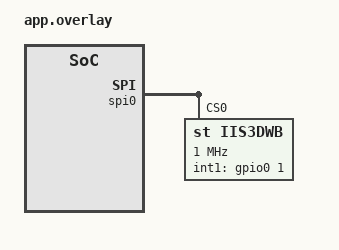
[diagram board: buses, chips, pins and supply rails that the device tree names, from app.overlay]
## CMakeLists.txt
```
# Copyright The Zephyr Project Contributors
# SPDX-License-Identifier: Apache-2.0

cmake_minimum_required(VERSION 3.28.0)
find_package(Zephyr REQUIRED HINTS $ENV{ZEPHYR_BASE})
project(iis3dwb)

target_include_directories(app PRIVATE
  ${ZEPHYR_BASE}/drivers/sensor/st/iis3dwb
  ${ZEPHYR_BASE}/drivers/sensor/st/stmemsc
)
target_sources(app PRIVATE src/main.c)
```

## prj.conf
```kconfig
# Copyright The Zephyr Project Contributors
# SPDX-License-Identifier: Apache-2.0

CONFIG_ZTEST=y
CONFIG_SENSOR=y
CONFIG_SENSOR_ASYNC_API=y
CONFIG_EMUL=y
CONFIG_GPIO=y
# No emulator backs the device, only its decoder is tested
```

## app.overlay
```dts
/*
 * Copyright The Zephyr Project Contributors
 *
 * SPDX-License-Identifier: Apache-2.0
 */

#include <zephyr/dt-bindings/gpio/gpio.h>
#include <zephyr/dt-bindings/sensor/iis3dwb.h>

&spi0 {
	iis3dwb: iis3dwb@0 {
		compatible = "st,iis3dwb";
		reg = <0>;
		spi-max-frequency = <1000000>;
		int1-gpios = <&gpio0 1 GPIO_ACTIVE_HIGH>;
		odr = <IIS3DWB_DT_ODR_26k7Hz>;
		accel-fifo-batch-rate = <IIS3DWB_DT_XL_BATCHED_AT_26k7Hz>;
		temp-fifo-batch-rate = <IIS3DWB_DT_TEMP_BATCHED_AT_104Hz>;
	};
};
```

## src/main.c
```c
/*
 * Copyright The Zephyr Project Contributors
 *
 * SPDX-License-Identifier: Apache-2.0
 */

#include <zephyr/drivers/sensor.h>
#include <zephyr/sys/byteorder.h>
#include <zephyr/ztest.h>

#include "iis3dwb.h"

/* Allowed error of a decoded acceleration, in micro-m/s^2 */
#define TOLERANCE_UMS2 500
/* Allowed error of a decoded temperature, in micro-degC */
#define TOLERANCE_UC   10

#define FIFO_TAG_SHIFT 3U

#define TS_NS 1000000000ULL

#define ACCEL_PERIOD_NS 37453ULL   /* 26.7 kHz */
#define TEMP_PERIOD_NS  9615384ULL /* 104 Hz */

static const struct sensor_decoder_api *decoder = SENSOR_DECODER_DT_GET(DT_NODELABEL(iis3dwb));

static const struct sensor_chan_spec chan_xyz = {SENSOR_CHAN_ACCEL_XYZ, 0};
static const struct sensor_chan_spec chan_x = {SENSOR_CHAN_ACCEL_X, 0};
static const struct sensor_chan_spec chan_y = {SENSOR_CHAN_ACCEL_Y, 0};
static const struct sensor_chan_spec chan_z = {SENSOR_CHAN_ACCEL_Z, 0};
static const struct sensor_chan_spec chan_temp = {SENSOR_CHAN_DIE_TEMP, 0};

/* Sensitivity in ug/LSB and expected shift for each range */
static const struct {
	uint8_t range;
	int32_t ug_per_lsb;
	int8_t shift;
} ranges[] = {
	{IIS3DWB_DT_FS_2G, 61, 5},
	{IIS3DWB_DT_FS_4G, 122, 6},
	{IIS3DWB_DT_FS_8G, 244, 7},
	{IIS3DWB_DT_FS_16G, 488, 8},
};

static int64_t q31_to_micro(q31_t value, int8_t shift)
{
	return ((int64_t)value * 1000000) >> (31 - shift);
}

static void check_accel(q31_t value, int8_t shift, int16_t raw, int32_t ug_per_lsb)
{
	int64_t expected = (int64_t)raw * ug_per_lsb * SENSOR_G / 1000000;
	int64_t actual = q31_to_micro(value, shift);

	zassert_within(actual, expected, TOLERANCE_UMS2, "raw %d: got %lld, expected %lld", raw,
		       actual, expected);
}

static void check_temp(q31_t value, int8_t shift, int16_t raw)
{
	int64_t expected = 25000000 + (int64_t)raw * 1000000 / 256;
	int64_t actual = q31_to_micro(value, shift);

	zassert_equal(shift, 9);
	zassert_within(actual, expected, TOLERANCE_UC, "raw %d: got %lld, expected %lld", raw,
		       actual, expected);
}

static void check_unsupported(const uint8_t *buffer, struct sensor_chan_spec chan)
{
	struct sensor_three_axis_data out;
	size_t base_size;
	size_t frame_size;
	uint16_t frame_count;
	uint32_t fit = 0;

	zassert_equal(decoder->get_size_info(chan, &base_size, &frame_size), -ENOTSUP);
	zassert_equal(decoder->get_frame_count(buffer, chan, &frame_count), -ENOTSUP);
	zassert_equal(decoder->decode(buffer, chan, &fit, 1, &out), -ENOTSUP);
}

static void check_size_info(struct sensor_chan_spec chan, size_t base, size_t frame)
{
	size_t base_size;
	size_t frame_size;

	zassert_ok(decoder->get_size_info(chan, &base_size, &frame_size));
	zassert_equal(base_size, base);
	zassert_equal(frame_size, frame);
}

static struct iis3dwb_rtio_data sample;

static void fill_sample(uint8_t range, const int16_t *accel, const int16_t *temp)
{
	memset(&sample, 0, sizeof(sample));
	sample.header.timestamp = TS_NS;
	sample.header.range = range;

	if (accel != NULL) {
		sample.has_accel = 1;
		for (int i = 0; i < 3; i++) {
			sys_put_le16((uint16_t)accel[i], (uint8_t *)&sample.accel[i]);
		}
	}

	if (temp != NULL) {
		sample.has_temp = 1;
		sys_put_le16((uint16_t)*temp, (uint8_t *)&sample.temp);
	}
}

ZTEST(iis3dwb_decoder, test_size_info)
{
	check_size_info(chan_xyz, sizeof(struct sensor_three_axis_data),
			sizeof(struct sensor_three_axis_sample_data));
	check_size_info(chan_x, sizeof(struct sensor_q31_data),
			sizeof(struct sensor_q31_sample_data));
	check_size_info(chan_y, sizeof(struct sensor_q31_data),
			sizeof(struct sensor_q31_sample_data));
	check_size_info(chan_z, sizeof(struct sensor_q31_data),
			sizeof(struct sensor_q31_sample_data));

	if (IS_ENABLED(CONFIG_IIS3DWB_ENABLE_TEMP)) {
		check_size_info(chan_temp, sizeof(struct sensor_q31_data),
				sizeof(struct sensor_q31_sample_data));
	}
}

ZTEST(iis3dwb_decoder, test_single_accel)
{
	static const int16_t raw[3] = {16384, -32768, 32767};
	const uint8_t *buffer = (const uint8_t *)&sample;

	for (size_t r = 0; r < ARRAY_SIZE(ranges); r++) {
		struct sensor_three_axis_data out;
		struct sensor_q31_data out_1;
		uint16_t frame_count;
		uint32_t fit = 0;

		fill_sample(ranges[r].range, raw, NULL);

		zassert_ok(decoder->get_frame_count(buffer, chan_xyz, &frame_count));
		zassert_equal(frame_count, 1);

		zassert_equal(decoder->decode(buffer, chan_xyz, &fit, 1, &out), 1);
		zassert_equal(out.header.reading_count, 1);
		zassert_equal(out.header.base_timestamp_ns, TS_NS);
		zassert_equal(out.readings[0].timestamp_delta, 0);
		zassert_equal(out.shift, ranges[r].shift);
		check_accel(out.readings[0].x, out.shift, raw[0], ranges[r].ug_per_lsb);
		check_accel(out.readings[0].y, out.shift, raw[1], ranges[r].ug_per_lsb);
		check_accel(out.readings[0].z, out.shift, raw[2], ranges[r].ug_per_lsb);
		zassert_equal(decoder->decode(buffer, chan_xyz, &fit, 1, &out), 0);

		for (int axis = 0; axis < 3; axis++) {
			struct sensor_chan_spec chan = {SENSOR_CHAN_ACCEL_X + axis, 0};

			zassert_ok(decoder->get_frame_count(buffer, chan, &frame_count));
			zassert_equal(frame_count, 1);

			fit = 0;
			zassert_equal(decoder->decode(buffer, chan, &fit, 1, &out_1), 1);
			zassert_equal(out_1.header.reading_count, 1);
			zassert_equal(out_1.header.base_timestamp_ns, TS_NS);
			zassert_equal(out_1.readings[0].timestamp_delta, 0);
			zassert_equal(out_1.shift, ranges[r].shift);
			check_accel(out_1.readings[0].value, out_1.shift, raw[axis],
				    ranges[r].ug_per_lsb);
			zassert_equal(decoder->decode(buffer, chan, &fit, 1, &out_1), 0);
		}
	}

	check_unsupported(buffer, (struct sensor_chan_spec){SENSOR_CHAN_GYRO_XYZ, 0});
	check_unsupported(buffer, (struct sensor_chan_spec){SENSOR_CHAN_ACCEL_XYZ, 1});
	if (!IS_ENABLED(CONFIG_IIS3DWB_ENABLE_TEMP)) {
		check_unsupported(buffer, chan_temp);
	}
}

ZTEST(iis3dwb_decoder, test_single_no_data)
{
	static const int16_t raw[3] = {1, 2, 3};
	const uint8_t *buffer = (const uint8_t *)&sample;
	struct sensor_three_axis_data out;
	uint16_t frame_count;
	uint32_t fit = 0;

	/* Temperature read alone, or a buffer completed without data */
	fill_sample(IIS3DWB_DT_FS_2G, NULL, NULL);

	zassert_ok(decoder->get_frame_count(buffer, chan_xyz, &frame_count));
	zassert_equal(frame_count, 0);
	zassert_equal(decoder->decode(buffer, chan_xyz, &fit, 1, &out), -ENODATA);
	zassert_ok(decoder->get_frame_count(buffer, chan_z, &frame_count));
	zassert_equal(frame_count, 0);
	zassert_equal(decoder->decode(buffer, chan_z, &fit, 1, &out), -ENODATA);

	if (IS_ENABLED(CONFIG_IIS3DWB_ENABLE_TEMP)) {
		fill_sample(IIS3DWB_DT_FS_2G, raw, NULL);
		zassert_ok(decoder->get_frame_count(buffer, chan_temp, &frame_count));
		zassert_equal(frame_count, 0);
		zassert_equal(decoder->decode(buffer, chan_temp, &fit, 1, &out), -ENODATA);
	}
}

ZTEST(iis3dwb_decoder, test_single_temp)
{
	static const int16_t raw_accel[3] = {-61, 0, 61};
	static const int16_t raw_temps[] = {0, 2560, -1280, 32767, -32768};
	const uint8_t *buffer = (const uint8_t *)&sample;

	Z_TEST_SKIP_IFNDEF(CONFIG_IIS3DWB_ENABLE_TEMP);

	for (size_t i = 0; i < ARRAY_SIZE(raw_temps); i++) {
		struct sensor_q31_data out;
		struct sensor_three_axis_data out_xyz;
		uint16_t frame_count;
		uint32_t fit = 0;

		fill_sample(IIS3DWB_DT_FS_16G, raw_accel, &raw_temps[i]);

		zassert_ok(decoder->get_frame_count(buffer, chan_temp, &frame_count));
		zassert_equal(frame_count, 1);

		zassert_equal(decoder->decode(buffer, chan_temp, &fit, 1, &out), 1);
		zassert_equal(out.header.reading_count, 1);
		zassert_equal(out.header.base_timestamp_ns, TS_NS);
		zassert_equal(out.readings[0].timestamp_delta, 0);
		check_temp(out.readings[0].temperature, out.shift, raw_temps[i]);
		zassert_equal(decoder->decode(buffer, chan_temp, &fit, 1, &out), 0);

		/* Both sensors in one buffer */
		fit = 0;
		zassert_equal(decoder->decode(buffer, chan_xyz, &fit, 1, &out_xyz), 1);
		zassert_equal(out_xyz.shift, 8);
		check_accel(out_xyz.readings[0].x, out_xyz.shift, raw_accel[0], 488);
		check_accel(out_xyz.readings[0].z, out_xyz.shift, raw_accel[2], 488);
	}

	check_unsupported(buffer, (struct sensor_chan_spec){SENSOR_CHAN_DIE_TEMP, 1});
}

ZTEST(iis3dwb_decoder, test_single_trigger)
{
	static const int16_t raw[3] = {1, 2, 3};
	const uint8_t *buffer = (const uint8_t *)&sample;

	/* Stream data ready buffer: int_status holds STATUS_REG */
	fill_sample(IIS3DWB_DT_FS_2G, raw, NULL);
	sample.header.int_status = 0xFF;

	zassert_equal(decoder->has_trigger(buffer, SENSOR_TRIG_DATA_READY),
		      IS_ENABLED(CONFIG_IIS3DWB_STREAM));
	zassert_false(decoder->has_trigger(buffer, SENSOR_TRIG_FIFO_WATERMARK));
	zassert_false(decoder->has_trigger(buffer, SENSOR_TRIG_FIFO_FULL));

	sample.header.int_status = 0;
	zassert_false(decoder->has_trigger(buffer, SENSOR_TRIG_DATA_READY));
}

#define NUM_WORDS    8
#define NUM_XL_WORDS 4

static struct {
	struct iis3dwb_fifo_data hdr;
	uint8_t words[NUM_WORDS * IIS3DWB_FIFO_ITEM_LEN];
} __packed fifo;

static int16_t fifo_accel(int i, int axis)
{
	static const int16_t base[3] = {1000, -1000, 32767};

	return (axis == 2) ? base[axis] - i : base[axis] * (i + 1);
}

static const int16_t fifo_temps[] = {512, -256};

static void put_word(int idx, uint8_t tag, int16_t a, int16_t b, int16_t c)
{
	uint8_t *word = &fifo.words[idx * IIS3DWB_FIFO_ITEM_LEN];

	/* Tag counter and parity bits are set to check that they are ignored */
	word[0] = (uint8_t)(tag << FIFO_TAG_SHIFT) | 0x07U;
	sys_put_le16((uint16_t)a, &word[1]);
	sys_put_le16((uint16_t)b, &word[3]);
	sys_put_le16((uint16_t)c, &word[5]);
}

static void put_xl_word(int idx, int i)
{
	put_word(idx, IIS3DWB_XL_TAG, fifo_accel(i, 0), fifo_accel(i, 1), fifo_accel(i, 2));
}

static void fill_fifo(uint8_t int_status)
{
	memset(&fifo, 0, sizeof(fifo));
	fifo.hdr.header.is_fifo = 1;
	fifo.hdr.header.range = IIS3DWB_DT_FS_4G;
	fifo.hdr.header.int_status = int_status;
	fifo.hdr.header.timestamp = TS_NS;
	fifo.hdr.accel_odr = IIS3DWB_DT_ODR_26k7Hz;
	fifo.hdr.accel_batch_odr = IIS3DWB_DT_XL_BATCHED_AT_26k7Hz;
	fifo.hdr.temp_batch_odr = IIS3DWB_DT_TEMP_BATCHED_AT_104Hz;
	fifo.hdr.ts_batch_odr = IIS3DWB_DT_DEC_TS_1;
	fifo.hdr.fifo_count = NUM_WORDS;

	/* Accelerometer, temperature and timestamp words interleaved, and an unknown tag */
	put_xl_word(0, 0);
	put_xl_word(1, 1);
	put_word(2, IIS3DWB_TEMPERATURE_TAG, fifo_temps[0], 0, 0);
	put_word(3, IIS3DWB_TIMESTAMP_TAG, 0x1234, 0x5678, 0);
	put_xl_word(4, 2);
	put_word(5, 0x1E, 0x7FFF, 0x7FFF, 0x7FFF);
	put_word(6, IIS3DWB_TEMPERATURE_TAG, fifo_temps[1], 0, 0);
	put_xl_word(7, 3);
}

static uint64_t accel_ts(int i)
{
	return TS_NS - (NUM_XL_WORDS - 1 - i) * ACCEL_PERIOD_NS;
}

ZTEST(iis3dwb_decoder, test_fifo_accel)
{
	const uint8_t *buffer = (const uint8_t *)&fifo;
	struct {
		struct sensor_three_axis_data data;
		struct sensor_three_axis_sample_data extra[NUM_XL_WORDS - 1];
	} out;
	const struct sensor_three_axis_sample_data *readings = out.data.readings;
	uint16_t frame_count;
	uint32_t fit = 0;
	int i;

	Z_TEST_SKIP_IFNDEF(CONFIG_IIS3DWB_STREAM);

	fill_fifo(0x80);

	zassert_ok(decoder->get_frame_count(buffer, chan_xyz, &frame_count));
	zassert_equal(frame_count, NUM_XL_WORDS);

	/* All readings in one call */
	zassert_equal(decoder->decode(buffer, chan_xyz, &fit, NUM_XL_WORDS, &out), NUM_XL_WORDS);
	zassert_equal(out.data.header.reading_count, NUM_XL_WORDS);
	zassert_equal(out.data.header.base_timestamp_ns, accel_ts(0));
	zassert_equal(out.data.shift, 6);

	for (i = 0; i < NUM_XL_WORDS; i++) {
		zassert_equal(readings[i].timestamp_delta, i * ACCEL_PERIOD_NS);
		check_accel(readings[i].x, out.data.shift, fifo_accel(i, 0), 122);
		check_accel(readings[i].y, out.data.shift, fifo_accel(i, 1), 122);
		check_accel(readings[i].z, out.data.shift, fifo_accel(i, 2), 122);
	}

	zassert_equal(decoder->decode(buffer, chan_xyz, &fit, NUM_XL_WORDS, &out), 0);

	/* In two calls, resuming after the temperature and timestamp words */
	fit = 0;
	zassert_equal(decoder->decode(buffer, chan_xyz, &fit, 3, &out), 3);
	for (i = 0; i < 3; i++) {
		zassert_equal(out.data.header.base_timestamp_ns + readings[i].timestamp_delta,
			      accel_ts(i));
	}
	zassert_equal(decoder->decode(buffer, chan_xyz, &fit, 3, &out), 1);
	zassert_equal(out.data.header.reading_count, 1);
	zassert_equal(out.data.header.base_timestamp_ns + readings[0].timestamp_delta, accel_ts(3));
	check_accel(readings[0].x, out.data.shift, fifo_accel(3, 0), 122);
	zassert_equal(decoder->decode(buffer, chan_xyz, &fit, 3, &out), 0);
}

ZTEST(iis3dwb_decoder, test_fifo_accel_axis)
{
	const uint8_t *buffer = (const uint8_t *)&fifo;

	Z_TEST_SKIP_IFNDEF(CONFIG_IIS3DWB_STREAM);

	fill_fifo(0x80);

	for (int axis = 0; axis < 3; axis++) {
		struct sensor_chan_spec chan = {SENSOR_CHAN_ACCEL_X + axis, 0};
		struct sensor_q31_data out;
		uint16_t frame_count;
		uint32_t fit = 0;

		zassert_ok(decoder->get_frame_count(buffer, chan, &frame_count));
		zassert_equal(frame_count, NUM_XL_WORDS);

		/* One reading per call */
		for (int i = 0; i < NUM_XL_WORDS; i++) {
			zassert_equal(decoder->decode(buffer, chan, &fit, 1, &out), 1);
			zassert_equal(out.header.reading_count, 1);
			zassert_equal(out.header.base_timestamp_ns +
					      out.readings[0].timestamp_delta,
				      accel_ts(i));
			zassert_equal(out.shift, 6);
			check_accel(out.readings[0].value, out.shift, fifo_accel(i, axis), 122);
		}
		zassert_equal(decoder->decode(buffer, chan, &fit, 1, &out), 0);
	}

	check_unsupported(buffer, (struct sensor_chan_spec){SENSOR_CHAN_GYRO_XYZ, 0});
	check_unsupported(buffer, (struct sensor_chan_spec){SENSOR_CHAN_ACCEL_XYZ, 1});
	if (!IS_ENABLED(CONFIG_IIS3DWB_ENABLE_TEMP)) {
		check_unsupported(buffer, chan_temp);
	}
}

ZTEST(iis3dwb_decoder, test_fifo_temp)
{
	const uint8_t *buffer = (const uint8_t *)&fifo;
	struct {
		struct sensor_q31_data data;
		struct sensor_q31_sample_data extra[1];
	} out;
	const struct sensor_q31_sample_data *readings = out.data.readings;
	uint16_t frame_count;
	uint32_t fit = 0;

	Z_TEST_SKIP_IFNDEF(CONFIG_IIS3DWB_STREAM);
	Z_TEST_SKIP_IFNDEF(CONFIG_IIS3DWB_ENABLE_TEMP);

	fill_fifo(0x80);

	zassert_ok(decoder->get_frame_count(buffer, chan_temp, &frame_count));
	zassert_equal(frame_count, ARRAY_SIZE(fifo_temps));

	zassert_equal(decoder->decode(buffer, chan_temp, &fit, 2, &out), 2);
	zassert_equal(out.data.header.reading_count, 2);
	zassert_equal(out.data.header.base_timestamp_ns, TS_NS - TEMP_PERIOD_NS);
	zassert_equal(readings[0].timestamp_delta, 0);
	zassert_equal(readings[1].timestamp_delta, TEMP_PERIOD_NS);
	check_temp(readings[0].temperature, out.data.shift, fifo_temps[0]);
	check_temp(readings[1].temperature, out.data.shift, fifo_temps[1]);
	zassert_equal(decoder->decode(buffer, chan_temp, &fit, 2, &out), 0);

	/* One reading per call */
	fit = 0;
	for (int i = 0; i < 2; i++) {
		zassert_equal(decoder->decode(buffer, chan_temp, &fit, 1, &out), 1);
		zassert_equal(out.data.header.base_timestamp_ns + readings[0].timestamp_delta,
			      TS_NS - (1 - i) * TEMP_PERIOD_NS);
		check_temp(readings[0].temperature, out.data.shift, fifo_temps[i]);
	}
	zassert_equal(decoder->decode(buffer, chan_temp, &fit, 1, &out), 0);
}

ZTEST(iis3dwb_decoder, test_fifo_not_batched)
{
	const uint8_t *buffer = (const uint8_t *)&fifo;
	struct {
		struct sensor_three_axis_data data;
		struct sensor_three_axis_sample_data extra[NUM_XL_WORDS - 1];
	} out;
	struct {
		struct sensor_q31_data data;
		struct sensor_q31_sample_data extra[1];
	} out_temp;
	const struct sensor_three_axis_sample_data *readings = out.data.readings;
	const struct sensor_q31_sample_data *temp_readings = out_temp.data.readings;
	uint32_t fit = 0;

	Z_TEST_SKIP_IFNDEF(CONFIG_IIS3DWB_STREAM);

	/* Without a batch rate, all readings get the header timestamp */
	fill_fifo(0x80);
	fifo.hdr.header.range = IIS3DWB_DT_FS_16G;
	fifo.hdr.accel_batch_odr = IIS3DWB_DT_XL_NOT_BATCHED;
	fifo.hdr.temp_batch_odr = IIS3DWB_DT_TEMP_NOT_BATCHED;

	zassert_equal(decoder->decode(buffer, chan_xyz, &fit, NUM_XL_WORDS, &out), NUM_XL_WORDS);
	zassert_equal(out.data.header.base_timestamp_ns, TS_NS);
	zassert_equal(out.data.shift, 8);

	for (int i = 0; i < NUM_XL_WORDS; i++) {
		zassert_equal(readings[i].timestamp_delta, 0);
		check_accel(readings[i].x, out.data.shift, fifo_accel(i, 0), 488);
		check_accel(readings[i].y, out.data.shift, fifo_accel(i, 1), 488);
		check_accel(readings[i].z, out.data.shift, fifo_accel(i, 2), 488);
	}

	if (IS_ENABLED(CONFIG_IIS3DWB_ENABLE_TEMP)) {
		fit = 0;
		zassert_equal(decoder->decode(buffer, chan_temp, &fit, 2, &out_temp), 2);
		zassert_equal(out_temp.data.header.base_timestamp_ns, TS_NS);
		zassert_equal(temp_readings[0].timestamp_delta, 0);
		zassert_equal(temp_readings[1].timestamp_delta, 0);
	}
}

ZTEST(iis3dwb_decoder, test_fifo_no_temp)
{
	const uint8_t *buffer = (const uint8_t *)&fifo;
	struct sensor_q31_data out;
	uint16_t frame_count;
	uint32_t fit = 0;

	Z_TEST_SKIP_IFNDEF(CONFIG_IIS3DWB_STREAM);
	Z_TEST_SKIP_IFNDEF(CONFIG_IIS3DWB_ENABLE_TEMP);

	/* FIFO data without temperature words */
	fill_fifo(0x80);
	put_xl_word(2, 2);
	put_xl_word(6, 3);
	fifo.hdr.fifo_count = 7;

	zassert_ok(decoder->get_frame_count(buffer, chan_temp, &frame_count));
	zassert_equal(frame_count, 0);
	zassert_equal(decoder->decode(buffer, chan_temp, &fit, 1, &out), -ENODATA);
	zassert_equal(decoder->decode(buffer, chan_temp, &fit, 0, &out), -ENODATA);

	zassert_ok(decoder->get_frame_count(buffer, chan_xyz, &frame_count));
	zassert_equal(frame_count, 5);
}

ZTEST(iis3dwb_decoder, test_fifo_trigger)
{
	const uint8_t *buffer = (const uint8_t *)&fifo;

	Z_TEST_SKIP_IFNDEF(CONFIG_IIS3DWB_STREAM);

	/* int_status holds FIFO_STATUS2: FIFO_WTM_IA is bit 7, FIFO_FULL_IA bit 5 */
	fill_fifo(0x80);
	zassert_true(decoder->has_trigger(buffer, SENSOR_TRIG_FIFO_WATERMARK));
	zassert_false(decoder->has_trigger(buffer, SENSOR_TRIG_FIFO_FULL));
	zassert_false(decoder->has_trigger(buffer, SENSOR_TRIG_DATA_READY));

	/* Bit 0 is DIFF_FIFO bit 8, not a data ready flag */
	fill_fifo(0x21);
	zassert_false(decoder->has_trigger(buffer, SENSOR_TRIG_FIFO_WATERMARK));
	zassert_true(decoder->has_trigger(buffer, SENSOR_TRIG_FIFO_FULL));
	zassert_false(decoder->has_trigger(buffer, SENSOR_TRIG_DATA_READY));
}

ZTEST(iis3dwb_decoder, test_fifo_empty)
{
	const uint8_t *buffer = (const uint8_t *)&fifo;
	struct sensor_three_axis_data out;
	uint16_t frame_count;
	uint32_t fit = 0;

	Z_TEST_SKIP_IFNDEF(CONFIG_IIS3DWB_STREAM);

	/* Buffer completed without data, for SENSOR_STREAM_DATA_NOP or _DROP */
	memset(&fifo, 0, sizeof(fifo));
	fifo.hdr.header.is_fifo = 1;
	fifo.hdr.header.int_status = 0x80;

	zassert_ok(decoder->get_frame_count(buffer, chan_xyz, &frame_count));
	zassert_equal(frame_count, 0);
	zassert_equal(decoder->decode(buffer, chan_xyz, &fit, 1, &out), 0);
	zassert_true(decoder->has_trigger(buffer, SENSOR_TRIG_FIFO_WATERMARK));

	if (IS_ENABLED(CONFIG_IIS3DWB_ENABLE_TEMP)) {
		zassert_ok(decoder->get_frame_count(buffer, chan_temp, &frame_count));
		zassert_equal(frame_count, 0);
		zassert_equal(decoder->decode(buffer, chan_temp, &fit, 1, &out), 0);
	}
}

ZTEST_SUITE(iis3dwb_decoder, NULL, NULL, NULL, NULL, NULL);
```
